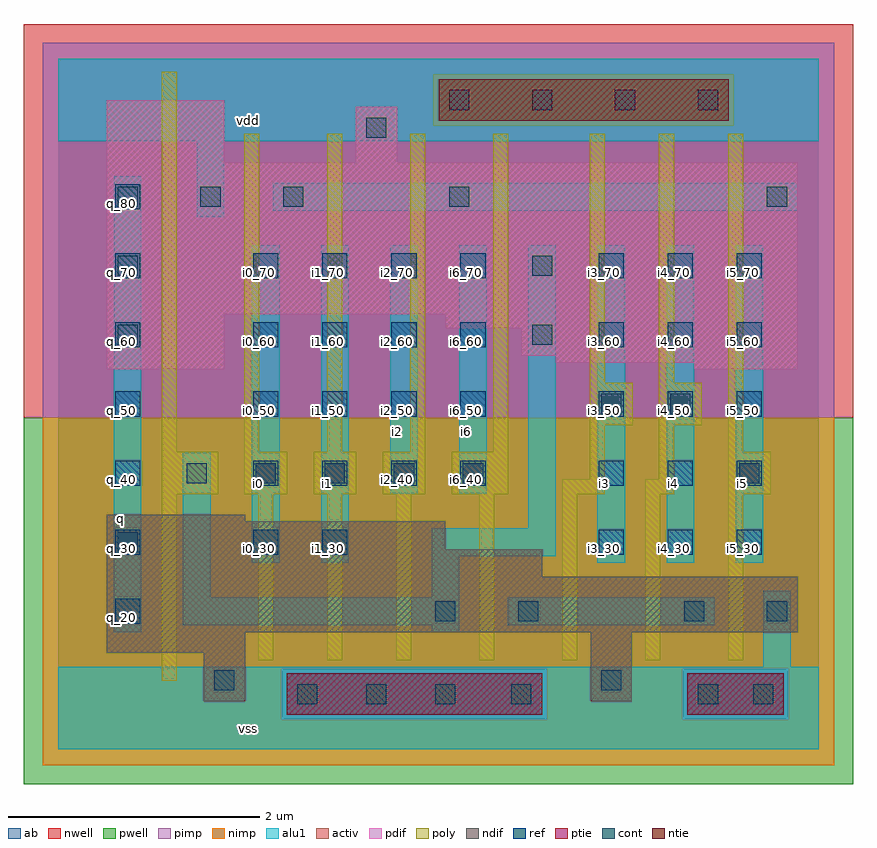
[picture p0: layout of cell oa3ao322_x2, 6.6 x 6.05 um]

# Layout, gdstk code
import gdstk
lib = gdstk.Library(unit=1e-6, precision=2.5e-09)
def R(c, l, rs):  # rectangles x0, y0, x1, y1
    for r in rs: c.add(gdstk.rectangle(r[:2], r[2:], *l))
def A(c, l, x, y, w, h, nx, ny, dx, dy):  # array of equal rectangles
    R(c, l, [(x+i*dx, y+j*dy, x+i*dx+w, y+j*dy+h) for i in range(nx) for j in range(ny)])
ndif = (3, 0)
pdif = (4, 0)
ntie = (5, 0)
ptie = (6, 0)
ref = (24, 0)
cont = (25, 0)
pwell = (41, 0)
nwell = (42, 0)
activ = (43, 0)
pimp = (44, 0)
nimp = (45, 0)
poly = (46, 0)
alu1 = (49, 0)
ab = (63, 0)

oa3ao322_x2 = lib.new_cell('oa3ao322_x2')
R(oa3ao322_x2, ndif, [(1.155,0.385,1.485,0.77), (4.235,0.385,4.565,0.935), (0.385,0.77,1.485,0.935), (0.385,0.935,5.885,1.375), (0.385,1.375,3.85,1.595), (0.385,1.595,3.08,1.815), (0.385,1.815,1.485,1.87)])
R(oa3ao322_x2, pdif, [(0.385,3.025,1.32,3.465), (5.06,3.025,5.885,3.08), (3.96,3.08,5.885,3.135), (3.685,3.135,5.885,3.355), (3.08,3.355,5.885,3.465), (0.385,3.465,5.885,4.675), (0.385,4.675,1.32,5.17), (2.365,4.675,2.695,5.115)])
R(oa3ao322_x2, ntie, [(3.025,5.005,5.335,5.335)])
R(oa3ao322_x2, ptie, [(1.815,0.275,3.85,0.605), (5.005,0.275,5.775,0.605)])
A(oa3ao322_x2, ref, 0.45, 1, 0.2, 0.2, 1, 7, 0, 0.55)
A(oa3ao322_x2, ref, 4.3, 1.55, 0.2, 0.2, 3, 5, 0.55, 0.55)
A(oa3ao322_x2, ref, 1.55, 2.1, 0.2, 0.2, 4, 4, 0.55, 0.55)
R(oa3ao322_x2, ref, [(1.55,1.55,1.75,1.75), (2.1,1.55,2.3,1.75)])
A(oa3ao322_x2, cont, 1.9, 0.36, 0.16, 0.16, 3, 1, 0.55, 0)
A(oa3ao322_x2, cont, 1.02, 2.12, 0.16, 0.16, 5, 1, 0.55, 0)
A(oa3ao322_x2, cont, 0.47, 4.32, 0.16, 0.16, 3, 1, 0.66, 0)
A(oa3ao322_x2, cont, 3.11, 5.09, 0.16, 0.16, 4, 1, 0.66, 0)
R(oa3ao322_x2, cont, [(3.605,0.36,3.765,0.52), (5.09,0.36,5.25,0.52), (5.53,0.36,5.69,0.52), (1.24,0.47,1.4,0.63), (4.32,0.47,4.48,0.63), (3,1.02,3.16,1.18), (3.66,1.02,3.82,1.18), (4.98,1.02,5.14,1.18), (5.64,1.02,5.8,1.18), (0.47,1.57,0.63,1.73), (5.42,2.12,5.58,2.28), (4.32,2.67,4.48,2.83), (4.87,2.67,5.03,2.83), (0.47,3.22,0.63,3.38), (3.77,3.22,3.93,3.38), (0.47,3.77,0.63,3.93), (3.77,3.77,3.93,3.93), (3.11,4.32,3.27,4.48), (5.64,4.32,5.8,4.48), (2.45,4.87,2.61,5.03)])
R(oa3ao322_x2, pwell, [(-0.275,-0.275,6.325,2.64)])
R(oa3ao322_x2, nwell, [(-0.275,2.64,6.325,5.775)])
R(oa3ao322_x2, activ, [(1.815,0.275,3.85,0.605), (5.005,0.275,5.775,0.605), (1.155,0.385,1.485,0.77), (4.235,0.385,4.565,0.935), (0.385,0.77,1.485,0.935), (0.385,0.935,5.885,1.375), (0.385,1.375,3.85,1.595), (0.385,1.595,3.08,1.815), (0.385,1.815,1.485,1.87), (0.385,3.025,1.32,3.465), (5.06,3.025,5.885,3.08), (3.96,3.08,5.885,3.135), (3.685,3.135,5.885,3.355), (3.08,3.355,5.885,3.465), (0.385,3.465,5.885,4.675), (0.385,4.675,1.32,5.17), (2.365,4.675,2.695,5.115), (3.025,5.005,5.335,5.335)])
R(oa3ao322_x2, pimp, [(1.775,0.235,3.89,0.645), (4.965,0.235,5.815,0.645), (-0.125,2.64,6.175,4.965), (-0.125,4.965,2.985,5.375), (5.375,4.965,6.175,5.375), (-0.125,5.375,6.175,5.625)])
R(oa3ao322_x2, nimp, [(-0.125,-0.125,6.175,0.235), (-0.125,0.235,1.775,0.645), (3.89,0.235,4.965,0.645), (5.815,0.235,6.175,0.645), (-0.125,0.645,6.175,2.64), (2.985,4.965,5.375,5.375)])
A(oa3ao322_x2, poly, 1.59, 0.71, 0.12, 1.32, 3, 1, 0.55, 0)
A(oa3ao322_x2, poly, 3.35, 0.71, 0.12, 1.32, 4, 1, 0.66, 0)
A(oa3ao322_x2, poly, 1.48, 2.03, 0.34, 0.34, 3, 1, 0.55, 0)
A(oa3ao322_x2, poly, 1.48, 2.37, 0.12, 2.53, 4, 1, 0.66, 0)
R(oa3ao322_x2, poly, [(0.82,0.545,0.94,2.03), (0.82,2.03,1.27,2.37), (3.13,2.03,3.58,2.37), (4.01,2.03,4.35,2.15), (4.67,2.03,4.9,2.15), (5.33,2.03,5.67,2.37), (4.23,2.15,4.35,2.58), (4.78,2.15,4.9,2.58), (0.82,2.37,0.94,5.395), (5.33,2.37,5.45,4.9), (4.23,2.58,4.57,2.92), (4.78,2.58,5.12,2.92), (4.23,2.92,4.35,4.9), (4.78,2.92,4.9,4.9)])
A(oa3ao322_x2, alu1, 4.29, 1.485, 0.22, 2.53, 3, 1, 0.55, 0)
R(oa3ao322_x2, alu1, [(0,0,6.05,0.66), (5.61,0.66,5.83,1.265), (0.44,0.935,0.66,4.565), (2.97,0.935,3.19,0.99), (0.99,0.99,3.19,1.21), (3.575,0.99,5.225,1.21), (0.99,1.21,1.21,2.365), (2.97,1.21,3.19,1.54), (1.54,1.485,1.76,4.015), (2.09,1.485,2.31,4.015), (2.97,1.54,3.96,1.76), (3.74,1.76,3.96,4.015), (2.64,2.035,2.86,4.015), (3.19,2.035,3.41,4.015), (1.1,4.235,1.32,4.84), (1.705,4.29,5.885,4.51), (0,4.84,6.05,5.5)])
R(oa3ao322_x2, ab, [(0,0,6.05,5.5)])
oa3ao322_x2.add(gdstk.Label('vss', (1.5125,0.165), layer=49, texttype=0))
oa3ao322_x2.add(gdstk.Label('i5', (5.445,2.1175), layer=49, texttype=0))
oa3ao322_x2.add(gdstk.Label('i4', (4.895,2.1175), layer=49, texttype=0))
oa3ao322_x2.add(gdstk.Label('i3', (4.345,2.1175), layer=49, texttype=0))
oa3ao322_x2.add(gdstk.Label('i6', (3.245,2.53), layer=49, texttype=0))
oa3ao322_x2.add(gdstk.Label('i2', (2.695,2.53), layer=49, texttype=0))
oa3ao322_x2.add(gdstk.Label('i1', (2.145,2.1175), layer=49, texttype=0))
oa3ao322_x2.add(gdstk.Label('i0', (1.595,2.1175), layer=49, texttype=0))
oa3ao322_x2.add(gdstk.Label('q', (0.495,1.8425), layer=49, texttype=0))
oa3ao322_x2.add(gdstk.Label('vdd', (1.5125,5.005), layer=49, texttype=0))
oa3ao322_x2.add(gdstk.Label('q_70', (0.5,3.8), layer=24, texttype=0))
oa3ao322_x2.add(gdstk.Label('q_60', (0.5,3.25), layer=24, texttype=0))
oa3ao322_x2.add(gdstk.Label('q_50', (0.5,2.7), layer=24, texttype=0))
oa3ao322_x2.add(gdstk.Label('q_40', (0.5,2.15), layer=24, texttype=0))
oa3ao322_x2.add(gdstk.Label('q_30', (0.5,1.6), layer=24, texttype=0))
oa3ao322_x2.add(gdstk.Label('q_20', (0.5,1.05), layer=24, texttype=0))
oa3ao322_x2.add(gdstk.Label('q_80', (0.5,4.35), layer=24, texttype=0))
oa3ao322_x2.add(gdstk.Label('i0_70', (1.6,3.8), layer=24, texttype=0))
oa3ao322_x2.add(gdstk.Label('i3_70', (4.35,3.8), layer=24, texttype=0))
oa3ao322_x2.add(gdstk.Label('i5_50', (5.45,2.7), layer=24, texttype=0))
oa3ao322_x2.add(gdstk.Label('i5_60', (5.45,3.25), layer=24, texttype=0))
oa3ao322_x2.add(gdstk.Label('i5_70', (5.45,3.8), layer=24, texttype=0))
oa3ao322_x2.add(gdstk.Label('i0_30', (1.6,1.6), layer=24, texttype=0))
oa3ao322_x2.add(gdstk.Label('i0_40', (1.6,2.15), layer=24, texttype=0))
oa3ao322_x2.add(gdstk.Label('i0_50', (1.6,2.7), layer=24, texttype=0))
oa3ao322_x2.add(gdstk.Label('i0_60', (1.6,3.25), layer=24, texttype=0))
oa3ao322_x2.add(gdstk.Label('i3_60', (4.35,3.25), layer=24, texttype=0))
oa3ao322_x2.add(gdstk.Label('i4_30', (4.9,1.6), layer=24, texttype=0))
oa3ao322_x2.add(gdstk.Label('i4_40', (4.9,2.15), layer=24, texttype=0))
oa3ao322_x2.add(gdstk.Label('i4_50', (4.9,2.7), layer=24, texttype=0))
oa3ao322_x2.add(gdstk.Label('i4_60', (4.9,3.25), layer=24, texttype=0))
oa3ao322_x2.add(gdstk.Label('i4_70', (4.9,3.8), layer=24, texttype=0))
oa3ao322_x2.add(gdstk.Label('i5_30', (5.45,1.6), layer=24, texttype=0))
oa3ao322_x2.add(gdstk.Label('i5_40', (5.45,2.15), layer=24, texttype=0))
oa3ao322_x2.add(gdstk.Label('i3_30', (4.35,1.6), layer=24, texttype=0))
oa3ao322_x2.add(gdstk.Label('i3_40', (4.35,2.15), layer=24, texttype=0))
oa3ao322_x2.add(gdstk.Label('i3_50', (4.35,2.7), layer=24, texttype=0))
oa3ao322_x2.add(gdstk.Label('i2_50', (2.7,2.7), layer=24, texttype=0))
oa3ao322_x2.add(gdstk.Label('i2_60', (2.7,3.25), layer=24, texttype=0))
oa3ao322_x2.add(gdstk.Label('i2_70', (2.7,3.8), layer=24, texttype=0))
oa3ao322_x2.add(gdstk.Label('i6_40', (3.25,2.15), layer=24, texttype=0))
oa3ao322_x2.add(gdstk.Label('i6_50', (3.25,2.7), layer=24, texttype=0))
oa3ao322_x2.add(gdstk.Label('i6_60', (3.25,3.25), layer=24, texttype=0))
oa3ao322_x2.add(gdstk.Label('i6_70', (3.25,3.8), layer=24, texttype=0))
oa3ao322_x2.add(gdstk.Label('i1_30', (2.15,1.6), layer=24, texttype=0))
oa3ao322_x2.add(gdstk.Label('i1_40', (2.15,2.15), layer=24, texttype=0))
oa3ao322_x2.add(gdstk.Label('i1_50', (2.15,2.7), layer=24, texttype=0))
oa3ao322_x2.add(gdstk.Label('i1_60', (2.15,3.25), layer=24, texttype=0))
oa3ao322_x2.add(gdstk.Label('i1_70', (2.15,3.8), layer=24, texttype=0))
oa3ao322_x2.add(gdstk.Label('i2_40', (2.7,2.15), layer=24, texttype=0))

lib.write_gds('oa3ao322_x2.gds')
